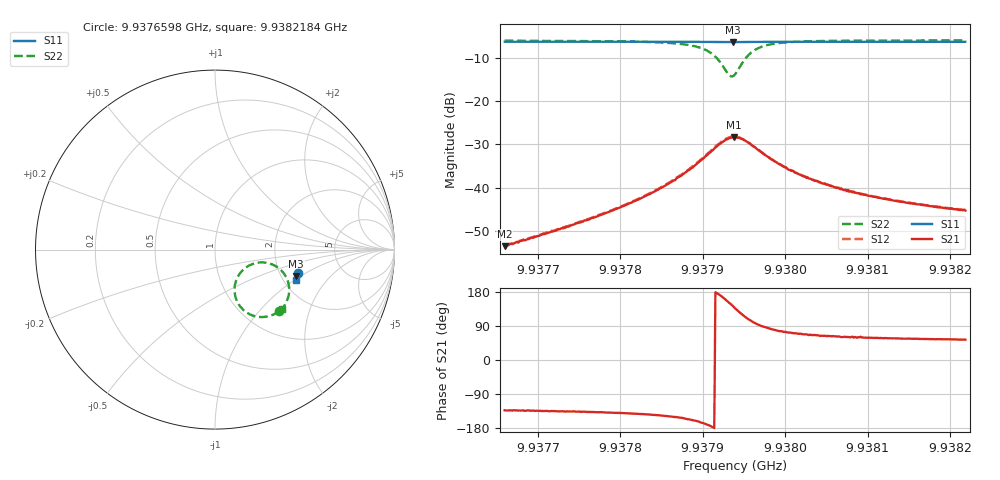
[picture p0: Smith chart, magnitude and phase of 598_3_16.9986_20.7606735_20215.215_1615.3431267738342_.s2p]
#  HZ  S  RI  R  50.00
! Rohde & Schwarz Vector Network Analyzer
! Rohde-Schwarz,ZNB20-2Port,1311601062101988,3.16
! Created: UTC 3/20/2024, 11:18:55 PM
! freq[Hz]  re:S11  im:S11  re:S21  im:S21  re:S12  im:S12  re:S22  im:S22
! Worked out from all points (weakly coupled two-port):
!   401 points, 9.9376598 GHz to 9.9382184 GHz, reference 50 ohm
!   highest |S21| = -28.41 dB at 9.9379377 GHz (marker M1); lowest = -53.5 dB at 9.9376598 GHz (marker M2)
!   lowest |S11| = -6.4 dB at 9.9379363 GHz (marker M3), VSWR 2.82, Z = 120 - j46 ohm
!   |S11| at or under -10 dB: nowhere
!   |S22| runs from -14.4 to -6.1 dB; largest |S21 - S12| = 0.002
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9.93765982e9  0.4637 -0.132  -0.00143 -0.00155  -0.00149 -0.00156  0.3563 -0.3432
9.93768915e9  0.4628 -0.1338  -0.00175 -0.00185  -0.00185 -0.00184  0.3517 -0.3467
9.93775339e9  0.4613 -0.1383  -0.00292 -0.00278  -0.00304 -0.00277  0.3383 -0.3552
9.93780506e9  0.4599 -0.1418  -0.00478 -0.00395  -0.00494 -0.00394  0.3192 -0.3645
9.93784695e9  0.4586 -0.1447  -0.00797 -0.00537  -0.00819 -0.00534  0.2899 -0.3733
9.93787768e9  0.4572 -0.1471  -0.0131 -0.00634  -0.0136 -0.00634  0.2452 -0.3755
9.93790281e9  0.4554 -0.1487  -0.0223 -0.00463  -0.0229 -0.00427  0.1742 -0.3489
9.93791398e9  0.4543 -0.1491  -0.0282 -0.000129  -0.0288 0.000449  0.1322 -0.305
9.93792376e9  0.4533 -0.1489  -0.0325 0.00775  -0.0333 0.00895  0.1091 -0.2328
9.93793214e9  0.453 -0.148  -0.0324 0.0179  -0.0325 0.0196  0.1268 -0.152
9.93793633e9  0.4528 -0.1478  -0.0301 0.0228  -0.0299 0.0247  0.154 -0.1153
9.93793773e9  0.4531 -0.1478  -0.0289 0.0246  -0.0287 0.0261  0.1653 -0.1052
9.93793912e9  0.4532 -0.1475  -0.0275 0.0261  -0.0272 0.0277  0.178 -0.096
9.9379461e9  0.4536 -0.1473  -0.0201 0.0308  -0.0191 0.032  0.2466 -0.0719
9.93795448e9  0.4545 -0.1475  -0.0108 0.0315  -0.00966 0.0321  0.3197 -0.0831
9.93796845e9  0.4554 -0.1487  -0.00112 0.0267  -0.000158 0.027  0.3868 -0.1372
9.93798241e9  0.4557 -0.1501  0.003 0.0212  0.00354 0.0212  0.4088 -0.186
9.93800476e9  0.4555 -0.1521  0.00492 0.0152  0.00533 0.0154  0.4132 -0.2356
9.93803269e9  0.4548 -0.1543  0.00498 0.0113  0.00527 0.0113  0.4068 -0.2692
9.938069e9  0.4539 -0.1573  0.00472 0.00834  0.00465 0.00838  0.3975 -0.2925
9.93812625e9  0.4524 -0.161  0.00392 0.00609  0.00407 0.0061  0.3861 -0.312
9.93821842e9  0.4498 -0.1672  0.00322 0.00437  0.00334 0.00439  0.3735 -0.3287
